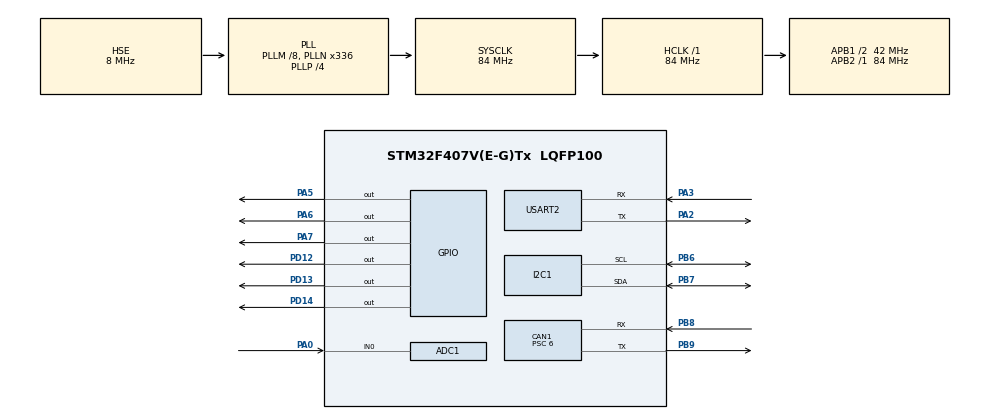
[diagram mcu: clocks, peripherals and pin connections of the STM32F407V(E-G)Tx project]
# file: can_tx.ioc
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ADC1.Channel-2\#ChannelRegularConversion=ADC_CHANNEL_0
ADC1.ContinuousConvMode=ENABLE
ADC1.NbrOfConversionFlag=1
ADC1.Rank-2\#ChannelRegularConversion=1
ADC1.SamplingTime-2\#ChannelRegularConversion=ADC_SAMPLETIME_3CYCLES
ADC1.master=1
CAN1.BS1=CAN_BS1_11TQ
CAN1.BS2=CAN_BS2_2TQ
CAN1.CalculateBaudRate=500000
CAN1.CalculateTimeBit=2000
CAN1.CalculateTimeQuantum=142.85714285714286
CAN1.NART=ENABLE
CAN1.Prescaler=6
Mcu.Family=STM32F4
Mcu.Name=STM32F407V(E-G)Tx
Mcu.Package=LQFP100
NVIC.PriorityGroup=NVIC_PRIORITYGROUP_0
PA0-WKUP.Signal=ADCx_IN0
PA2.Mode=Asynchronous
PA2.Signal=USART2_TX
PA3.Mode=Asynchronous
PA3.Signal=USART2_RX
PA5.GPIO_ModeDefaultOutputPP=GPIO_MODE_OUTPUT_PP
PA5.Signal=GPIO_Output
PA6.Signal=GPIO_Output
PA7.Signal=GPIO_Output
PB6.Mode=I2C
PB6.Signal=I2C1_SCL
PB7.Mode=I2C
PB7.Signal=I2C1_SDA
PB8.Mode=CAN_Activate
PB8.Signal=CAN1_RX
PB9.Mode=CAN_Activate
PB9.Signal=CAN1_TX
PD12.Signal=GPIO_Output
PD13.Signal=GPIO_Output
PD14.Signal=GPIO_Output
PH0-OSC_IN.Mode=HSE-External-Oscillator
PH0-OSC_IN.Signal=RCC_OSC_IN
PH1-OSC_OUT.Mode=HSE-External-Oscillator
PH1-OSC_OUT.Signal=RCC_OSC_OUT
ProjectManager.HeapSize=0x200
ProjectManager.StackSize=0x400
ProjectManager.TargetToolchain=STM32CubeIDE
RCC.48MHZClocksFreq_Value=48000000
RCC.AHBFreq_Value=84000000
RCC.APB1CLKDivider=RCC_HCLK_DIV2
RCC.APB1Freq_Value=42000000
RCC.APB1TimFreq_Value=84000000
RCC.APB2Freq_Value=84000000
RCC.APB2TimFreq_Value=84000000
RCC.CortexFreq_Value=84000000
RCC.HCLKFreq_Value=84000000
RCC.HSE_VALUE=8000000
RCC.HSI_VALUE=16000000
RCC.LSE_VALUE=32768
RCC.PLLM=8
RCC.PLLN=336
RCC.PLLP=RCC_PLLP_DIV4
RCC.PLLQ=7
RCC.PLLSourceVirtual=RCC_PLLSOURCE_HSE
RCC.SYSCLKFreq_VALUE=84000000
RCC.SYSCLKSource=RCC_SYSCLKSOURCE_PLLCLK
RCC.VCOOutputFreq_Value=336000000
SH.ADCx_IN0.0=ADC1_IN0,IN0
USART2.VirtualMode=VM_ASYNC
board=STM32F407G-DISC1

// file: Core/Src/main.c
/* USER CODE BEGIN Header */
/**
  ******************************************************************************
  * @file           : main.c
  * @brief          : Main program body
  ******************************************************************************
  * @attention
  *
  * Copyright (c) 2026 STMicroelectronics.
  * All rights reserved.
  *
  * This software is licensed under terms that can be found in the LICENSE file
  * in the root directory of this software component.
  * If no LICENSE file comes with this software, it is provided AS-IS.
  *
  ******************************************************************************
  */
/* USER CODE END Header */
#include "main.h"

/* USER CODE BEGIN Includes */
#include <stdio.h>
#include <string.h>
#include <math.h>
#include "ina219.h"

/* USER CODE END Includes */

/* USER CODE BEGIN PD */
#define SMARTBMS_TX_VERSION       "SmartBMS_TX_V0.1_USART_DEBUG"
#define CAN_BATTERY_STD_ID        0x123U

#define ADC_VREF                  3.3f
#define ADC_MAX_COUNT             4095.0f
#define NTC_R_FIXED               10000.0f
#define NTC_R0                    10000.0f
#define NTC_T0_K                  298.15f
#define NTC_BETA                  3950.0f

#define OVER_VOLTAGE_LIMIT        4.25f
#define UNDER_VOLTAGE_LIMIT       3.00f
#define OVER_CURRENT_LIMIT        1000.0f
#define OVER_TEMP_LIMIT           60.0f

#define FAULT_OV                  (1U << 0)
#define FAULT_UV                  (1U << 1)
#define FAULT_OC                  (1U << 2)
#define FAULT_OT                  (1U << 3)

/* USER CODE END PD */

ADC_HandleTypeDef hadc1;
CAN_HandleTypeDef hcan1;
UART_HandleTypeDef huart2;
I2C_HandleTypeDef hi2c1;

/* USER CODE BEGIN PV */
CAN_TxHeaderTypeDef TxHeader;
uint8_t TxData[8];
uint32_t TxMailbox;

uint32_t adcValue;
float ntcVoltage;
float resistance;
float temperatureC;
float batteryVoltageV;
float batteryCurrentmA;
uint8_t faultFlags;
uint8_t ina219Ready;
uint32_t debugCounter;
char str[320];

/* USER CODE END PV */

void SystemClock_Config(void);
static void MX_GPIO_Init(void);
static void MX_CAN1_Init(void);
static void MX_ADC1_Init(void);
static void MX_I2C1_Init(void);
static void MX_USART2_UART_Init(void);

/* USER CODE BEGIN 0 */

static int32_t To_Scaled_100(float value)
{
    if (value >= 0.0f)
    {
        return (int32_t)((value * 100.0f) + 0.5f);
    }
    else
    {
        return (int32_t)((value * 100.0f) - 0.5f);
    }
}

static int32_t To_Scaled_1000(float value)
{
    if (value >= 0.0f)
    {
        return (int32_t)((value * 1000.0f) + 0.5f);
    }
    else
    {
        return (int32_t)((value * 1000.0f) - 0.5f);
    }
}

static void Append_Fixed_2(char *buffer, size_t size, const char *label, float value, const char *unit)
{
    int32_t scaled = To_Scaled_100(value);
    int32_t abs_scaled = (scaled < 0) ? -scaled : scaled;

    snprintf(buffer, size,
             "%s%s%ld.%02ld %s\r\n",
             label,
             (scaled < 0) ? "-" : "",
             (long)(abs_scaled / 100),
             (long)(abs_scaled % 100),
             unit);

    HAL_UART_Transmit(&huart2, (uint8_t *)buffer, strlen(buffer), HAL_MAX_DELAY);
}

static void Append_Fixed_3(char *buffer, size_t size, const char *label, float value, const char *unit)
{
    int32_t scaled = To_Scaled_1000(value);
    int32_t abs_scaled = (scaled < 0) ? -scaled : scaled;

    snprintf(buffer, size,
             "%s%s%ld.%03ld %s\r\n",
             label,
             (scaled < 0) ? "-" : "",
             (long)(abs_scaled / 1000),
             (long)(abs_scaled % 1000),
             unit);

    HAL_UART_Transmit(&huart2, (uint8_t *)buffer, strlen(buffer), HAL_MAX_DELAY);
}

static const char *HAL_Status_String(HAL_StatusTypeDef status)
{
    switch (status)
    {
        case HAL_OK:      return "HAL_OK";
        case HAL_ERROR:   return "HAL_ERROR";
        case HAL_BUSY:    return "HAL_BUSY";
        case HAL_TIMEOUT: return "HAL_TIMEOUT";
        default:          return "HAL_UNKNOWN";
    }
}

static float Read_Temperature_C(void)
{
    float temperatureK;

    HAL_ADC_Start(&hadc1);
    HAL_ADC_PollForConversion(&hadc1, HAL_MAX_DELAY);
    adcValue = HAL_ADC_GetValue(&hadc1);
    HAL_ADC_Stop(&hadc1);

    ntcVoltage = ((float)adcValue * ADC_VREF) / ADC_MAX_COUNT;

    if (ntcVoltage <= 0.01f)
    {
        ntcVoltage = 0.01f;
    }
    else if (ntcVoltage >= (ADC_VREF - 0.01f))
    {
        ntcVoltage = ADC_VREF - 0.01f;
    }

    /* Option B divider: 3.3V -> NTC -> ADC PA0 -> 10k fixed resistor -> GND. */
    resistance = NTC_R_FIXED * (ADC_VREF - ntcVoltage) / ntcVoltage;

    if (resistance <= 1.0f)
    {
        resistance = 1.0f;
    }

    temperatureK = 1.0f / ((1.0f / NTC_T0_K) + ((1.0f / NTC_BETA) * logf(resistance / NTC_R0)));
    return temperatureK - 273.15f;
}

static uint8_t Build_Fault_Flags(float vbat, float currmA, float tempC)
{
    uint8_t flags = 0U;

    if (vbat > OVER_VOLTAGE_LIMIT)
    {
        flags |= FAULT_OV;
    }

    if (vbat < UNDER_VOLTAGE_LIMIT)
    {
        flags |= FAULT_UV;
    }

    if (fabsf(currmA) > OVER_CURRENT_LIMIT)
    {
        flags |= FAULT_OC;
    }

    if (tempC > OVER_TEMP_LIMIT)
    {
        flags |= FAULT_OT;
    }

    return flags;
}

static void Update_Outputs(uint8_t faults)
{
    if (faults != 0U)
    {
        HAL_GPIO_WritePin(GPIOA, GPIO_PIN_5, GPIO_PIN_SET);    /* Buzzer ON */
        HAL_GPIO_WritePin(GPIOA, GPIO_PIN_6, GPIO_PIN_RESET);  /* Green LED OFF */
        HAL_GPIO_WritePin(GPIOA, GPIO_PIN_7, GPIO_PIN_SET);    /* Red LED ON */
    }
    else
    {
        HAL_GPIO_WritePin(GPIOA, GPIO_PIN_5, GPIO_PIN_RESET);  /* Buzzer OFF */
        HAL_GPIO_WritePin(GPIOA, GPIO_PIN_6, GPIO_PIN_SET);    /* Green LED ON */
        HAL_GPIO_WritePin(GPIOA, GPIO_PIN_7, GPIO_PIN_RESET);  /* Red LED OFF */
    }
}

static void UART_Print_TX_Debug(void)
{
    snprintf(str, sizeof(str),
             "\r\n========================================\r\n"
             "Version       : %s\r\n"
             "Debug Count   : %lu\r\n"
             "Uptime        : %lu ms\r\n"
             "----------------------------------------\r\n",
             SMARTBMS_TX_VERSION,
             (unsigned long)debugCounter,
             (unsigned long)HAL_GetTick());
    HAL_UART_Transmit(&huart2, (uint8_t *)str, strlen(str), HAL_MAX_DELAY);

    snprintf(str, sizeof(str), "ADC Raw       : %lu counts\r\n", (unsigned long)adcValue);
    HAL_UART_Transmit(&huart2, (uint8_t *)str, strlen(str), HAL_MAX_DELAY);

    Append_Fixed_3(str, sizeof(str), "NTC Voltage   : ", ntcVoltage, "V");
    Append_Fixed_2(str, sizeof(str), "NTC Resistor  : ", resistance, "ohm");
    Append_Fixed_2(str, sizeof(str), "Temperature   : ", temperatureC, "C");

    snprintf(str, sizeof(str),
             "----------------------------------------\r\n"
             "INA219 Ready  : %s\r\n"
             "INA219 Status : %s\r\n"
             "INA219 BusRaw : 0x%04X\r\n"
             "INA219 ShuRaw : %d\r\n",
             ina219Ready ? "YES" : "NO",
             HAL_Status_String(INA219_GetLastStatus()),
             INA219_GetLastBusRaw(),
             INA219_GetLastShuntRaw());
    HAL_UART_Transmit(&huart2, (uint8_t *)str, strlen(str), HAL_MAX_DELAY);

    Append_Fixed_2(str, sizeof(str), "Battery Volt  : ", batteryVoltageV, "V");
    Append_Fixed_2(str, sizeof(str), "Battery Curr  : ", batteryCurrentmA, "mA");

    snprintf(str, sizeof(str),
             "----------------------------------------\r\n"
             "Fault Flags   : 0x%02X\r\n"
             "Fault OV      : %s  limit > %.2f V\r\n"
             "Fault UV      : %s  limit < %.2f V\r\n"
             "Fault OC      : %s  limit > %.0f mA absolute\r\n"
             "Fault OT      : %s  limit > %.0f C\r\n"
             "Output        : %s\r\n"
             "========================================\r\n",
             faultFlags,
             (faultFlags & FAULT_OV) ? "YES" : "NO", OVER_VOLTAGE_LIMIT,
             (faultFlags & FAULT_UV) ? "YES" : "NO", UNDER_VOLTAGE_LIMIT,
             (faultFlags & FAULT_OC) ? "YES" : "NO", OVER_CURRENT_LIMIT,
             (faultFlags & FAULT_OT) ? "YES" : "NO", OVER_TEMP_LIMIT,
             (faultFlags != 0U) ? "FAULT: RED LED ON, BUZZER ON" : "NORMAL: GREEN LED ON");
    HAL_UART_Transmit(&huart2, (uint8_t *)str, strlen(str), HAL_MAX_DELAY);
}

static void Send_Battery_Frame(float tempC, float voltV, float currmA, uint8_t faults)
{
    int16_t temp_x100 = (int16_t)((tempC * 100.0f) + ((tempC >= 0.0f) ? 0.5f : -0.5f));
    uint16_t volt_x100 = (uint16_t)((voltV * 100.0f) + 0.5f);
    int16_t curr_x1 = (int16_t)(currmA + ((currmA >= 0.0f) ? 0.5f : -0.5f));

    TxData[0] = (uint8_t)(temp_x100 & 0xFF);
    TxData[1] = (uint8_t)((temp_x100 >> 8) & 0xFF);
    TxData[2] = (uint8_t)(volt_x100 & 0xFF);
    TxData[3] = (uint8_t)((volt_x100 >> 8) & 0xFF);
    TxData[4] = (uint8_t)(curr_x1 & 0xFF);
    TxData[5] = (uint8_t)((curr_x1 >> 8) & 0xFF);
    TxData[6] = faults;
    TxData[7] = 0U;

    if (HAL_CAN_GetTxMailboxesFreeLevel(&hcan1) > 0U)
    {
        (void)HAL_CAN_AddTxMessage(&hcan1, &TxHeader, TxData, &TxMailbox);
    }
}
/* USER CODE END 0 */

int main(void)
{
  /* MCU Configuration--------------------------------------------------------*/
  HAL_Init();

  /* Configure the system clock */
  SystemClock_Config();

  /* Initialize all configured peripherals */
  MX_GPIO_Init();
  MX_CAN1_Init();
  MX_ADC1_Init();
  MX_USART2_UART_Init();
  MX_I2C1_Init();
  INA219_Init(&hi2c1);

  /* USER CODE BEGIN 2 */
    TxHeader.StdId = CAN_BATTERY_STD_ID;
    TxHeader.ExtId = 0U;
    TxHeader.IDE = CAN_ID_STD;
    TxHeader.RTR = CAN_RTR_DATA;
    TxHeader.DLC = 8U;
    TxHeader.TransmitGlobalTime = DISABLE;

    (void)HAL_CAN_Start(&hcan1);

    HAL_GPIO_WritePin(GPIOA, GPIO_PIN_6, GPIO_PIN_SET);

    snprintf(str, sizeof(str), "\r\n%s started\r\n", SMARTBMS_TX_VERSION);
    HAL_UART_Transmit(&huart2, (uint8_t *)str, strlen(str), HAL_MAX_DELAY);

  /* USER CODE END 2 */

  /* Infinite loop */
  /* USER CODE BEGIN WHILE */
  while (1)
  {
    debugCounter++;

        ina219Ready = INA219_IsDeviceReady();
        temperatureC = Read_Temperature_C();
        batteryVoltageV = INA219_GetBusVoltage_V();
        batteryCurrentmA = INA219_GetCurrent_mA();

        faultFlags = Build_Fault_Flags(batteryVoltageV, batteryCurrentmA, temperatureC);
        Update_Outputs(faultFlags);

        UART_Print_TX_Debug();

        HAL_Delay(1000);
  }
  /* USER CODE END WHILE */

}

void SystemClock_Config(void)
{
  RCC_OscInitTypeDef RCC_OscInitStruct = {0};
  RCC_ClkInitTypeDef RCC_ClkInitStruct = {0};

  __HAL_RCC_PWR_CLK_ENABLE();
  __HAL_PWR_VOLTAGESCALING_CONFIG(PWR_REGULATOR_VOLTAGE_SCALE1);

  RCC_OscInitStruct.OscillatorType = RCC_OSCILLATORTYPE_HSE;
  RCC_OscInitStruct.HSEState = RCC_HSE_ON;
  RCC_OscInitStruct.PLL.PLLState = RCC_PLL_ON;
  RCC_OscInitStruct.PLL.PLLSource = RCC_PLLSOURCE_HSE;
  RCC_OscInitStruct.PLL.PLLM = 8;
  RCC_OscInitStruct.PLL.PLLN = 336;
  RCC_OscInitStruct.PLL.PLLP = RCC_PLLP_DIV4;
  RCC_OscInitStruct.PLL.PLLQ = 7;
  if (HAL_RCC_OscConfig(&RCC_OscInitStruct) != HAL_OK)
  {
    Error_Handler();
  }

  RCC_ClkInitStruct.ClockType = RCC_CLOCKTYPE_HCLK | RCC_CLOCKTYPE_SYSCLK |
                                RCC_CLOCKTYPE_PCLK1 | RCC_CLOCKTYPE_PCLK2;
  RCC_ClkInitStruct.SYSCLKSource = RCC_SYSCLKSOURCE_PLLCLK;
  RCC_ClkInitStruct.AHBCLKDivider = RCC_SYSCLK_DIV1;
  RCC_ClkInitStruct.APB1CLKDivider = RCC_HCLK_DIV2;
  RCC_ClkInitStruct.APB2CLKDivider = RCC_HCLK_DIV1;

  if (HAL_RCC_ClockConfig(&RCC_ClkInitStruct, FLASH_LATENCY_2) != HAL_OK)
  {
    Error_Handler();
  }
}

static void MX_ADC1_Init(void)
{
  ADC_ChannelConfTypeDef sConfig = {0};

  hadc1.Instance = ADC1;
  hadc1.Init.ClockPrescaler = ADC_CLOCK_SYNC_PCLK_DIV4;
  hadc1.Init.Resolution = ADC_RESOLUTION_12B;
  hadc1.Init.ScanConvMode = DISABLE;
  hadc1.Init.ContinuousConvMode = DISABLE;
  hadc1.Init.DiscontinuousConvMode = DISABLE;
  hadc1.Init.ExternalTrigConvEdge = ADC_EXTERNALTRIGCONVEDGE_NONE;
  hadc1.Init.ExternalTrigConv = ADC_SOFTWARE_START;
  hadc1.Init.DataAlign = ADC_DATAALIGN_RIGHT;
  hadc1.Init.NbrOfConversion = 1;
  hadc1.Init.DMAContinuousRequests = DISABLE;
  hadc1.Init.EOCSelection = ADC_EOC_SINGLE_CONV;

  if (HAL_ADC_Init(&hadc1) != HAL_OK)
  {
    Error_Handler();
  }

  sConfig.Channel = ADC_CHANNEL_0;
  sConfig.Rank = 1;
  sConfig.SamplingTime = ADC_SAMPLETIME_84CYCLES;

  if (HAL_ADC_ConfigChannel(&hadc1, &sConfig) != HAL_OK)
  {
    Error_Handler();
  }
}

static void MX_CAN1_Init(void)
{
  hcan1.Instance = CAN1;
  hcan1.Init.Prescaler = 6;
  hcan1.Init.Mode = CAN_MODE_NORMAL;
  hcan1.Init.SyncJumpWidth = CAN_SJW_1TQ;
  hcan1.Init.TimeSeg1 = CAN_BS1_11TQ;
  hcan1.Init.TimeSeg2 = CAN_BS2_2TQ;
  hcan1.Init.TimeTriggeredMode = DISABLE;
  hcan1.Init.AutoBusOff = DISABLE;
  hcan1.Init.AutoWakeUp = DISABLE;
  hcan1.Init.AutoRetransmission = ENABLE;
  hcan1.Init.ReceiveFifoLocked = DISABLE;
  hcan1.Init.TransmitFifoPriority = DISABLE;

  if (HAL_CAN_Init(&hcan1) != HAL_OK)
  {
    Error_Handler();
  }
}

static void MX_I2C1_Init(void)
{
    hi2c1.Instance = I2C1;
    hi2c1.Init.ClockSpeed = 100000;
    hi2c1.Init.DutyCycle = I2C_DUTYCYCLE_2;
    hi2c1.Init.OwnAddress1 = 0;
    hi2c1.Init.AddressingMode = I2C_ADDRESSINGMODE_7BIT;
    hi2c1.Init.DualAddressMode = I2C_DUALADDRESS_DISABLE;
    hi2c1.Init.OwnAddress2 = 0;
    hi2c1.Init.GeneralCallMode = I2C_GENERALCALL_DISABLE;
    hi2c1.Init.NoStretchMode = I2C_NOSTRETCH_DISABLE;
    if (HAL_I2C_Init(&hi2c1) != HAL_OK) Error_Handler();
}

static void MX_USART2_UART_Init(void)
{
  huart2.Instance = USART2;
  huart2.Init.BaudRate = 115200;
  huart2.Init.WordLength = UART_WORDLENGTH_8B;
  huart2.Init.StopBits = UART_STOPBITS_1;
  huart2.Init.Parity = UART_PARITY_NONE;
  huart2.Init.Mode = UART_MODE_TX_RX;
  huart2.Init.HwFlowCtl = UART_HWCONTROL_NONE;
  huart2.Init.OverSampling = UART_OVERSAMPLING_16;

  if (HAL_UART_Init(&huart2) != HAL_OK)
  {
    Error_Handler();
  }
}

static void MX_GPIO_Init(void)
{
  GPIO_InitTypeDef GPIO_InitStruct = {0};

  __HAL_RCC_GPIOH_CLK_ENABLE();
  __HAL_RCC_GPIOA_CLK_ENABLE();
  __HAL_RCC_GPIOD_CLK_ENABLE();
  __HAL_RCC_GPIOB_CLK_ENABLE();

  HAL_GPIO_WritePin(GPIOD, GPIO_PIN_12 | GPIO_PIN_13 | GPIO_PIN_14, GPIO_PIN_RESET);

  GPIO_InitStruct.Pin = GPIO_PIN_12 | GPIO_PIN_13 | GPIO_PIN_14;
  GPIO_InitStruct.Mode = GPIO_MODE_OUTPUT_PP;
  GPIO_InitStruct.Pull = GPIO_NOPULL;
  GPIO_InitStruct.Speed = GPIO_SPEED_FREQ_LOW;
  HAL_GPIO_Init(GPIOD, &GPIO_InitStruct);
}

void Error_Handler(void)
{
  __disable_irq();
  while (1)
  {
  }
}
